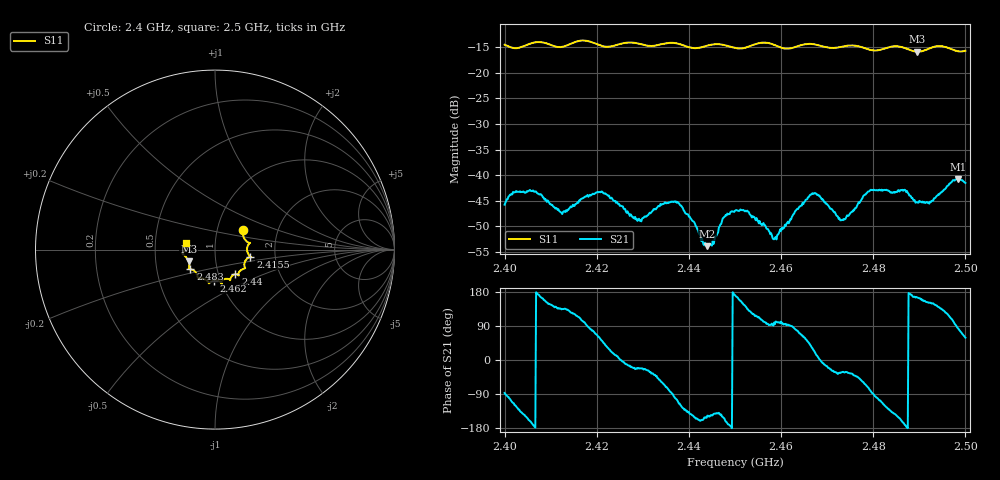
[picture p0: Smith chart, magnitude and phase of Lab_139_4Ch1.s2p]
# Hz S RI R 50
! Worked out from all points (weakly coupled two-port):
!   601 points, 2.4 GHz to 2.5 GHz, reference 50 ohm
!   highest |S21| = -40.78 dB at 2.4985 GHz (marker M1); lowest = -53.9 dB at 2.444 GHz (marker M2)
!   lowest |S11| = -15.9 dB at 2.4895 GHz (marker M3), VSWR 1.38, Z = 37 - j5.02 ohm
!   |S11| at or under -10 dB: start of sweep to end of sweep
!   S12 and S22 are empty: the file has one direction only
!   S11 on the Smith chart (normalised r, x): 2.4 GHz: 1.33, +0.29; 2.4155 GHz: 1.49, -0.12; 2.44 GHz: 1.20, -0.34; 2.462 GHz: 0.93, -0.33; 2.483 GHz: 0.74, -0.17; 2.5 GHz: 0.72, +0.06
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2.4e9  0.1552 0.1065  0.000264 -0.00515  0 0  0 0
2.405667e9  0.1894 0.0381  -0.00673 -0.0021  0 0  0 0
2.412333e9  0.1786 -0.00507  -0.00298 0.00312  0 0  0 0
2.4155e9  0.1973 -0.0392  -0.00239 0.00466  0 0  0 0
2.416667e9  0.2021 -0.0424  -0.00152 0.00568  0 0  0 0
2.4215e9  0.1714 -0.0585  0.00474 0.00467  0 0  0 0
2.429167e9  0.1607 -0.1064  0.00348 -0.00144  0 0  0 0
2.433333e9  0.1307 -0.1338  0.00331 -0.00375  0 0  0 0
2.437333e9  0.1313 -0.1428  -0.00132 -0.00522  0 0  0 0
2.44e9  0.1138 -0.1366  -0.00288 -0.00268  0 0  0 0
2.444e9  0.0853 -0.1631  -0.0017 -0.00111  0 0  0 0
2.45e9  0.0648 -0.1625  -0.00444 0.00068  0 0  0 0
2.4585e9  0.0344 -0.1844  -0.000367 0.00234  0 0  0 0
2.462e9  -0.00509 -0.173  -4.46e-05 0.00373  0 0  0 0
2.466667e9  -0.0344 -0.1881  0.00553 0.00358  0 0  0 0
2.473333e9  -0.0829 -0.1603  0.00315 -0.00192  0 0  0 0
2.479e9  -0.1032 -0.1339  0.00193 -0.00667  0 0  0 0
2.483e9  -0.1374 -0.1096  -0.00416 -0.00578  0 0  0 0
2.483333e9  -0.14 -0.1093  -0.00444 -0.00548  0 0  0 0
2.4895e9  -0.1461 -0.0661  -0.00528 0.00137  0 0  0 0
2.4985e9  -0.1615 0.0129  0.0013 0.00905  0 0  0 0
2.5e9  -0.1596 0.039  0.00434 0.0072  0 0  0 0
